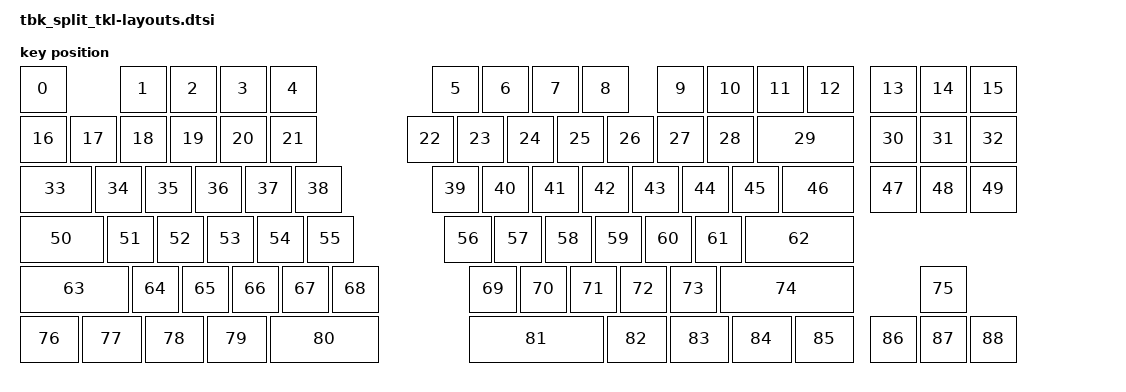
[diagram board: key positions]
#include <physical_layouts.dtsi>

/ {
    physical_layout0: physical_layout_0 {
        compatible = "zmk,physical-layout";
        display-name = "LAYOUT";

        kscan = <&kscan0>;
        transform = <&default_transform>;

        keys  //                     w   h    x    y     rot    rx    ry
            = <&key_physical_attrs 100 100    0    0       0     0     0>
            , <&key_physical_attrs 100 100  200    0       0     0     0>
            , <&key_physical_attrs 100 100  300    0       0     0     0>
            , <&key_physical_attrs 100 100  400    0       0     0     0>
            , <&key_physical_attrs 100 100  500    0       0     0     0>
            , <&key_physical_attrs 100 100  825    0       0     0     0>
            , <&key_physical_attrs 100 100  925    0       0     0     0>
            , <&key_physical_attrs 100 100 1025    0       0     0     0>
            , <&key_physical_attrs 100 100 1125    0       0     0     0>
            , <&key_physical_attrs 100 100 1275    0       0     0     0>
            , <&key_physical_attrs 100 100 1375    0       0     0     0>
            , <&key_physical_attrs 100 100 1475    0       0     0     0>
            , <&key_physical_attrs 100 100 1575    0       0     0     0>
            , <&key_physical_attrs 100 100 1700    0       0     0     0>
            , <&key_physical_attrs 100 100 1800    0       0     0     0>
            , <&key_physical_attrs 100 100 1900    0       0     0     0>
            , <&key_physical_attrs 100 100    0  100       0     0     0>
            , <&key_physical_attrs 100 100  100  100       0     0     0>
            , <&key_physical_attrs 100 100  200  100       0     0     0>
            , <&key_physical_attrs 100 100  300  100       0     0     0>
            , <&key_physical_attrs 100 100  400  100       0     0     0>
            , <&key_physical_attrs 100 100  500  100       0     0     0>
            , <&key_physical_attrs 100 100  775  100       0     0     0>
            , <&key_physical_attrs 100 100  875  100       0     0     0>
            , <&key_physical_attrs 100 100  975  100       0     0     0>
            , <&key_physical_attrs 100 100 1075  100       0     0     0>
            , <&key_physical_attrs 100 100 1175  100       0     0     0>
            , <&key_physical_attrs 100 100 1275  100       0     0     0>
            , <&key_physical_attrs 100 100 1375  100       0     0     0>
            , <&key_physical_attrs 200 100 1475  100       0     0     0>
            , <&key_physical_attrs 100 100 1700  100       0     0     0>
            , <&key_physical_attrs 100 100 1800  100       0     0     0>
            , <&key_physical_attrs 100 100 1900  100       0     0     0>
            , <&key_physical_attrs 150 100    0  200       0     0     0>
            , <&key_physical_attrs 100 100  150  200       0     0     0>
            , <&key_physical_attrs 100 100  250  200       0     0     0>
            , <&key_physical_attrs 100 100  350  200       0     0     0>
            , <&key_physical_attrs 100 100  450  200       0     0     0>
            , <&key_physical_attrs 100 100  550  200       0     0     0>
            , <&key_physical_attrs 100 100  825  200       0     0     0>
            , <&key_physical_attrs 100 100  925  200       0     0     0>
            , <&key_physical_attrs 100 100 1025  200       0     0     0>
            , <&key_physical_attrs 100 100 1125  200       0     0     0>
            , <&key_physical_attrs 100 100 1225  200       0     0     0>
            , <&key_physical_attrs 100 100 1325  200       0     0     0>
            , <&key_physical_attrs 100 100 1425  200       0     0     0>
            , <&key_physical_attrs 150 100 1525  200       0     0     0>
            , <&key_physical_attrs 100 100 1700  200       0     0     0>
            , <&key_physical_attrs 100 100 1800  200       0     0     0>
            , <&key_physical_attrs 100 100 1900  200       0     0     0>
            , <&key_physical_attrs 175 100    0  300       0     0     0>
            , <&key_physical_attrs 100 100  175  300       0     0     0>
            , <&key_physical_attrs 100 100  275  300       0     0     0>
            , <&key_physical_attrs 100 100  375  300       0     0     0>
            , <&key_physical_attrs 100 100  475  300       0     0     0>
            , <&key_physical_attrs 100 100  575  300       0     0     0>
            , <&key_physical_attrs 100 100  850  300       0     0     0>
            , <&key_physical_attrs 100 100  950  300       0     0     0>
            , <&key_physical_attrs 100 100 1050  300       0     0     0>
            , <&key_physical_attrs 100 100 1150  300       0     0     0>
            , <&key_physical_attrs 100 100 1250  300       0     0     0>
            , <&key_physical_attrs 100 100 1350  300       0     0     0>
            , <&key_physical_attrs 225 100 1450  300       0     0     0>
            , <&key_physical_attrs 225 100    0  400       0     0     0>
            , <&key_physical_attrs 100 100  225  400       0     0     0>
            , <&key_physical_attrs 100 100  325  400       0     0     0>
            , <&key_physical_attrs 100 100  425  400       0     0     0>
            , <&key_physical_attrs 100 100  525  400       0     0     0>
            , <&key_physical_attrs 100 100  625  400       0     0     0>
            , <&key_physical_attrs 100 100  900  400       0     0     0>
            , <&key_physical_attrs 100 100 1000  400       0     0     0>
            , <&key_physical_attrs 100 100 1100  400       0     0     0>
            , <&key_physical_attrs 100 100 1200  400       0     0     0>
            , <&key_physical_attrs 100 100 1300  400       0     0     0>
            , <&key_physical_attrs 275 100 1400  400       0     0     0>
            , <&key_physical_attrs 100 100 1800  400       0     0     0>
            , <&key_physical_attrs 125 100    0  500       0     0     0>
            , <&key_physical_attrs 125 100  125  500       0     0     0>
            , <&key_physical_attrs 125 100  250  500       0     0     0>
            , <&key_physical_attrs 125 100  375  500       0     0     0>
            , <&key_physical_attrs 225 100  500  500       0     0     0>
            , <&key_physical_attrs 275 100  900  500       0     0     0>
            , <&key_physical_attrs 125 100 1175  500       0     0     0>
            , <&key_physical_attrs 125 100 1300  500       0     0     0>
            , <&key_physical_attrs 125 100 1425  500       0     0     0>
            , <&key_physical_attrs 125 100 1550  500       0     0     0>
            , <&key_physical_attrs 100 100 1700  500       0     0     0>
            , <&key_physical_attrs 100 100 1800  500       0     0     0>
            , <&key_physical_attrs 100 100 1900  500       0     0     0>
            ;
    };
};
